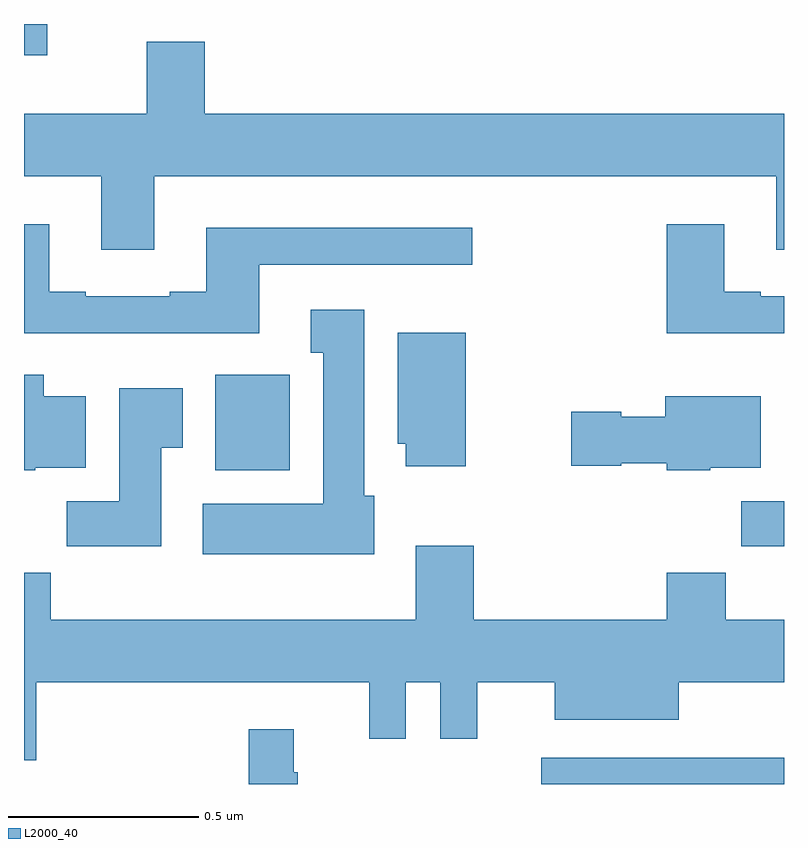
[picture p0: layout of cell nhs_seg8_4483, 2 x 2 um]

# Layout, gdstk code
import gdstk
lib = gdstk.Library(unit=1e-6, precision=1e-09)
def R(c, l, rs):  # rectangles x0, y0, x1, y1
    for r in rs: c.add(gdstk.rectangle(r[:2], r[2:], *l))
def P(c, l, *ps):  # polygons
    for p in ps: c.add(gdstk.Polygon(p, *l))
L2000_40 = (2000, 40)

nhs_seg8_4483 = lib.new_cell('nhs_seg8_4483')
R(nhs_seg8_4483, L2000_40, [(172.361,1114.9,173,1114.969), (172.888,1115.526,173,1115.644), (171.503,1115.726,171.699,1115.977), (171,1116.818,171.061,1116.9)])
P(nhs_seg8_4483, L2000_40, [(171.343,1116.5),(172.979,1116.5),(172.979,1116.306),(173,1116.306),(173,1116.664),(171.476,1116.664),(171.476,1116.853),(171.323,1116.853),(171.323,1116.664),(171,1116.664),(171,1116.5),(171.203,1116.5),(171.203,1116.306),(171.343,1116.306)],
  [(171.619,1116.267),(172.18,1116.267),(172.18,1116.364),(171.479,1116.364),(171.479,1116.196),(171.383,1116.196),(171.383,1116.183),(171.163,1116.183),(171.163,1116.196),(171.067,1116.196),(171.067,1116.373),(171,1116.373),(171,1116.086),(171.619,1116.086)],
  [(173,1116.183),(172.939,1116.183),(172.939,1116.196),(172.843,1116.196),(172.843,1116.373),(172.691,1116.373),(172.691,1116.086),(173,1116.086)],
  [(171.922,1115.658),(171.895,1115.658),(171.895,1116.148),(171.755,1116.148),(171.755,1116.035),(171.788,1116.035),(171.788,1115.638),(171.471,1115.638),(171.471,1115.504),(171.922,1115.504)],
  [(172.162,1116.088),(171.983,1116.088),(171.983,1115.796),(172.004,1115.796),(172.004,1115.736),(172.162,1115.736)],
  [(171.03,1115.732),(171.163,1115.732),(171.163,1115.92),(171.052,1115.92),(171.052,1115.977),(171,1115.977),(171,1115.726),(171.03,1115.726)],
  [(171.361,1115.785),(171.418,1115.785),(171.418,1115.941),(171.251,1115.941),(171.251,1115.644),(171.112,1115.644),(171.112,1115.526),(171.361,1115.526)],
  [(172.806,1115.732),(172.939,1115.732),(172.939,1115.92),(172.688,1115.92),(172.688,1115.866),(172.572,1115.866),(172.572,1115.879),(172.44,1115.879),(172.44,1115.737),(172.572,1115.737),(172.572,1115.744),(172.692,1115.744),(172.692,1115.726),(172.806,1115.726)],
  [(171.032,1115.168),(171.908,1115.168),(171.908,1115.019),(172.005,1115.019),(172.005,1115.168),(172.095,1115.168),(172.095,1115.019),(172.193,1115.019),(172.193,1115.168),(172.397,1115.168),(172.397,1115.069),(172.723,1115.069),(172.723,1115.168),(173,1115.168),(173,1115.332),(172.847,1115.332),(172.847,1115.456),(172.691,1115.456),(172.691,1115.332),(172.184,1115.332),(172.184,1115.527),(172.031,1115.527),(172.031,1115.332),(171.071,1115.332),(171.071,1115.456),(171,1115.456),(171,1114.962),(171.032,1114.962)],
  [(171.721,1114.931),(171.71,1114.931),(171.71,1115.044),(171.592,1115.044),(171.592,1114.9),(171.721,1114.9)])

lib.write_gds('nhs_seg8_4483.gds')
